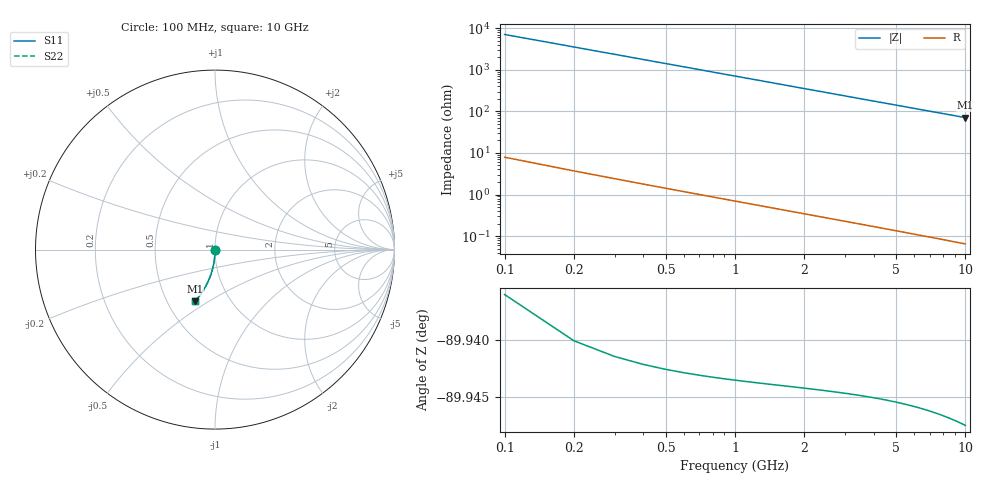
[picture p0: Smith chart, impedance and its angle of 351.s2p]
# Hz S RI R 50.00
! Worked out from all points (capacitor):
!   100 points, 100 MHz to 10 GHz, reference 50 ohm
!   read as one part in shunt: C = 225 fF near 100 MHz
!   lowest |Z| = 70.8 ohm at 10 GHz (marker M1)
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1e8  0.000185 -0.00327  0.9998 -0.00381  0.9998 -0.00381  0.000185 -0.00327
2e8  0.000145 -0.00653  0.9997 -0.00763  0.9997 -0.00763  0.000145 -0.00653
3e8  8.04e-05 -0.0098  0.9997 -0.0114  0.9997 -0.0114  8.04e-05 -0.0098
4e8  -9.39e-06 -0.0131  0.9996 -0.0152  0.9996 -0.0152  -9.39e-06 -0.0131
5e8  -0.000124 -0.0163  0.9995 -0.0191  0.9995 -0.0191  -0.000124 -0.0163
6e8  -0.000264 -0.0196  0.9993 -0.0229  0.9993 -0.0229  -0.000264 -0.0196
7e8  -0.000429 -0.0229  0.9992 -0.0267  0.9992 -0.0267  -0.000429 -0.0229
8e8  -0.000618 -0.0261  0.999 -0.0305  0.999 -0.0305  -0.000618 -0.0261
9e8  -0.000833 -0.0294  0.9987 -0.0343  0.9987 -0.0343  -0.000833 -0.0294
1.1e9  -0.00134 -0.0359  0.9982 -0.0419  0.9982 -0.0419  -0.00134 -0.0359
1.4e9  -0.00228 -0.0456  0.9973 -0.0533  0.9973 -0.0533  -0.00228 -0.0456
1.8e9  -0.00387 -0.0586  0.9957 -0.0684  0.9957 -0.0684  -0.00387 -0.0586
2.1e9  -0.00533 -0.0682  0.9942 -0.0797  0.9942 -0.0797  -0.00533 -0.0682
2.5e9  -0.00761 -0.081  0.9919 -0.0947  0.9919 -0.0947  -0.00761 -0.081
2.9e9  -0.0103 -0.0937  0.9892 -0.1096  0.9892 -0.1096  -0.0103 -0.0937
3.4e9  -0.0141 -0.1095  0.9853 -0.1281  0.9853 -0.1281  -0.0141 -0.1095
4.2e9  -0.0215 -0.1342  0.9778 -0.1572  0.9778 -0.1572  -0.0215 -0.1342
5.1e9  -0.0315 -0.1612  0.9677 -0.1891  0.9677 -0.1891  -0.0315 -0.1612
5.9e9  -0.0417 -0.1845  0.9573 -0.2168  0.9573 -0.2168  -0.0417 -0.1845
6.7e9  -0.0533 -0.2068  0.9456 -0.2436  0.9456 -0.2436  -0.0533 -0.2068
8.4e9  -0.0815 -0.2513  0.9169 -0.2974  0.9169 -0.2974  -0.0815 -0.2513
1e10  -0.1121 -0.2887  0.8859 -0.3437  0.8859 -0.3437  -0.1121 -0.2887
